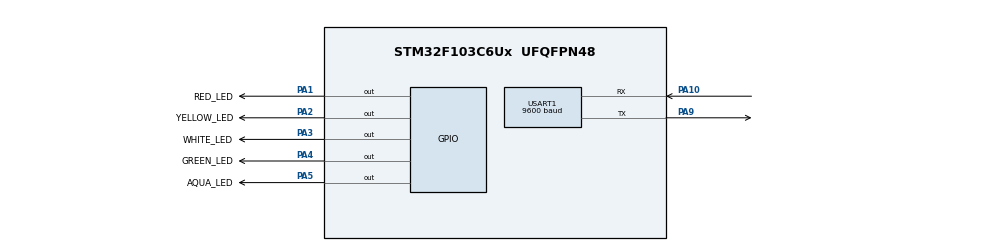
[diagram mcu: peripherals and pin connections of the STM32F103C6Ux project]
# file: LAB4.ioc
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Mcu.Family=STM32F1
Mcu.Name=STM32F103C6Ux
Mcu.Package=UFQFPN48
NVIC.PriorityGroup=NVIC_PRIORITYGROUP_4
NVIC.TIM2_IRQn=true\:0\:0\:false\:false\:true\:true\:true
NVIC.USART1_IRQn=true\:0\:0\:false\:false\:true\:true\:true
PA1.GPIO_Label=RED_LED
PA1.Signal=GPIO_Output
PA10.Mode=Asynchronous
PA10.Signal=USART1_RX
PA2.GPIO_Label=YELLOW_LED
PA2.Signal=GPIO_Output
PA3.GPIO_Label=WHITE_LED
PA3.Signal=GPIO_Output
PA4.GPIO_Label=GREEN_LED
PA4.Signal=GPIO_Output
PA5.GPIO_Label=AQUA_LED
PA5.Signal=GPIO_Output
PA9.Mode=Asynchronous
PA9.Signal=USART1_TX
ProjectManager.HeapSize=0x200
ProjectManager.StackSize=0x400
ProjectManager.TargetToolchain=STM32CubeIDE
RCC.APB1Freq_Value=8000000
RCC.APB2Freq_Value=8000000
TIM2.Period=9
TIM2.Prescaler=7999
USART1.BaudRate=9600
USART1.VirtualMode=VM_ASYNC
VP_SYS_VS_ND.Mode=No_Debug
VP_TIM2_VS_ClockSourceINT.Mode=Internal
board=custom

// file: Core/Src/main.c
/* USER CODE BEGIN Header */
/**
  ******************************************************************************
  * @file           : main.c
  * @brief          : Main program body
  ******************************************************************************
  * @attention
  *
  * <h2><center>&copy; Copyright (c) 2024 STMicroelectronics.
  * All rights reserved.</center></h2>
  *
  * This software component is licensed by ST under BSD 3-Clause license,
  * the "License"; You may not use this file except in compliance with the
  * License. You may obtain a copy of the License at:
  *                        opensource.org/licenses/BSD-3-Clause
  *
  ******************************************************************************
  */
/* USER CODE END Header */
#include "main.h"

/* USER CODE BEGIN Includes */
#include "scheduler.h"
#include <stdio.h>
#include <string.h>

/* USER CODE END Includes */

TIM_HandleTypeDef htim2;

UART_HandleTypeDef huart1;

void SystemClock_Config(void);
static void MX_TIM2_Init(void);
static void MX_GPIO_Init(void);
static void MX_USART1_UART_Init(void);

/* USER CODE BEGIN 0 */
int timestamp = 0;
void PA1(){
	HAL_GPIO_TogglePin(RED_LED_GPIO_Port, RED_LED_Pin);
}
void PA2(){
	HAL_GPIO_TogglePin(YELLOW_LED_GPIO_Port, YELLOW_LED_Pin);
}
void PA3(){
	HAL_GPIO_TogglePin(WHITE_LED_GPIO_Port, WHITE_LED_Pin);
}
void PA4(){
	HAL_GPIO_TogglePin(GREEN_LED_GPIO_Port, GREEN_LED_Pin);
}
void PA5(){
	HAL_GPIO_TogglePin(AQUA_LED_GPIO_Port, AQUA_LED_Pin);
}
void UART_Timestamp(void)
{
	int i = IDtoPrint;
	char strTimestamp[50];  // Buffer to hold the formatted string
	sprintf(strTimestamp, "%u: %u ms\r\n", i, timestamp *10);  // Format the timestamp as a string
	HAL_UART_Transmit(&huart1, (uint8_t*)strTimestamp, strlen(strTimestamp), 2000);  // Send it via UART

}
/* USER CODE END 0 */

int main(void)
{

  /* MCU Configuration--------------------------------------------------------*/

  /* Reset of all peripherals, Initializes the Flash interface and the Systick. */
  HAL_Init();

  /* Configure the system clock */
  SystemClock_Config();

  /* Initialize all configured peripherals */
  MX_TIM2_Init();
  MX_GPIO_Init();
  MX_USART1_UART_Init();
  /* USER CODE BEGIN 2 */
  HAL_TIM_Base_Start_IT(&htim2);
  /* USER CODE END 2 */

  /* Infinite loop */
  /* USER CODE BEGIN WHILE */
  SCH_Init();

  //SCH_Add_Task(UART_Timestamp, 0, 2);

  SCH_Add_Task(PA1, 10, 0);
  SCH_Add_Task(PA2, 20, 500);
  SCH_Add_Task(PA3, 30, 1000);
  SCH_Add_Task(PA4, 50, 1500);
  SCH_Add_Task(PA5, 70, 1000);

  while (1)
  {
    /* USER CODE END WHILE */

    /* USER CODE BEGIN 3 */
	  int i = SCH_Dispatch_Tasks();
	  if (i == 1)
	  {
	  UART_Timestamp();
	  i = 0;
	  }
  }
  /* USER CODE END 3 */
}

void SystemClock_Config(void)
{
  RCC_OscInitTypeDef RCC_OscInitStruct = {0};
  RCC_ClkInitTypeDef RCC_ClkInitStruct = {0};

  /** Initializes the RCC Oscillators according to the specified parameters
  * in the RCC_OscInitTypeDef structure.
  */
  RCC_OscInitStruct.OscillatorType = RCC_OSCILLATORTYPE_HSI;
  RCC_OscInitStruct.HSIState = RCC_HSI_ON;
  RCC_OscInitStruct.HSICalibrationValue = RCC_HSICALIBRATION_DEFAULT;
  RCC_OscInitStruct.PLL.PLLState = RCC_PLL_NONE;
  if (HAL_RCC_OscConfig(&RCC_OscInitStruct) != HAL_OK)
  {
    Error_Handler();
  }
  /** Initializes the CPU, AHB and APB buses clocks
  */
  RCC_ClkInitStruct.ClockType = RCC_CLOCKTYPE_HCLK|RCC_CLOCKTYPE_SYSCLK
                              |RCC_CLOCKTYPE_PCLK1|RCC_CLOCKTYPE_PCLK2;
  RCC_ClkInitStruct.SYSCLKSource = RCC_SYSCLKSOURCE_HSI;
  RCC_ClkInitStruct.AHBCLKDivider = RCC_SYSCLK_DIV1;
  RCC_ClkInitStruct.APB1CLKDivider = RCC_HCLK_DIV1;
  RCC_ClkInitStruct.APB2CLKDivider = RCC_HCLK_DIV1;

  if (HAL_RCC_ClockConfig(&RCC_ClkInitStruct, FLASH_LATENCY_0) != HAL_OK)
  {
    Error_Handler();
  }
}

static void MX_TIM2_Init(void)
{

  TIM_ClockConfigTypeDef sClockSourceConfig = {0};
  TIM_MasterConfigTypeDef sMasterConfig = {0};

  htim2.Instance = TIM2;
  htim2.Init.Prescaler = 7999;
  htim2.Init.CounterMode = TIM_COUNTERMODE_UP;
  htim2.Init.Period = 9;
  htim2.Init.ClockDivision = TIM_CLOCKDIVISION_DIV1;
  htim2.Init.AutoReloadPreload = TIM_AUTORELOAD_PRELOAD_DISABLE;
  if (HAL_TIM_Base_Init(&htim2) != HAL_OK)
  {
    Error_Handler();
  }
  sClockSourceConfig.ClockSource = TIM_CLOCKSOURCE_INTERNAL;
  if (HAL_TIM_ConfigClockSource(&htim2, &sClockSourceConfig) != HAL_OK)
  {
    Error_Handler();
  }
  sMasterConfig.MasterOutputTrigger = TIM_TRGO_RESET;
  sMasterConfig.MasterSlaveMode = TIM_MASTERSLAVEMODE_DISABLE;
  if (HAL_TIMEx_MasterConfigSynchronization(&htim2, &sMasterConfig) != HAL_OK)
  {
    Error_Handler();
  }

}

static void MX_USART1_UART_Init(void)
{

  huart1.Instance = USART1;
  huart1.Init.BaudRate = 9600;
  huart1.Init.WordLength = UART_WORDLENGTH_8B;
  huart1.Init.StopBits = UART_STOPBITS_1;
  huart1.Init.Parity = UART_PARITY_NONE;
  huart1.Init.Mode = UART_MODE_TX_RX;
  huart1.Init.HwFlowCtl = UART_HWCONTROL_NONE;
  huart1.Init.OverSampling = UART_OVERSAMPLING_16;
  if (HAL_UART_Init(&huart1) != HAL_OK)
  {
    Error_Handler();
  }

}

static void MX_GPIO_Init(void)
{
  GPIO_InitTypeDef GPIO_InitStruct = {0};

  /* GPIO Ports Clock Enable */
  __HAL_RCC_GPIOA_CLK_ENABLE();

  /*Configure GPIO pin Output Level */
  HAL_GPIO_WritePin(GPIOA, RED_LED_Pin|YELLOW_LED_Pin|WHITE_LED_Pin|GREEN_LED_Pin
                          |AQUA_LED_Pin, GPIO_PIN_RESET);

  /*Configure GPIO pins : RED_LED_Pin YELLOW_LED_Pin WHITE_LED_Pin GREEN_LED_Pin
                           AQUA_LED_Pin */
  GPIO_InitStruct.Pin = RED_LED_Pin|YELLOW_LED_Pin|WHITE_LED_Pin|GREEN_LED_Pin
                          |AQUA_LED_Pin;
  GPIO_InitStruct.Mode = GPIO_MODE_OUTPUT_PP;
  GPIO_InitStruct.Pull = GPIO_NOPULL;
  GPIO_InitStruct.Speed = GPIO_SPEED_FREQ_LOW;
  HAL_GPIO_Init(GPIOA, &GPIO_InitStruct);

}

/* USER CODE BEGIN 4 */
void HAL_TIM_PeriodElapsedCallback(TIM_HandleTypeDef *htim)
	{
		SCH_Update();
		timestamp++;

	}
/* USER CODE END 4 */

void Error_Handler(void)
{
  __disable_irq();
  while (1)
  {
  }
}

/************************ (C) COPYRIGHT STMicroelectronics *****END OF FILE****/
